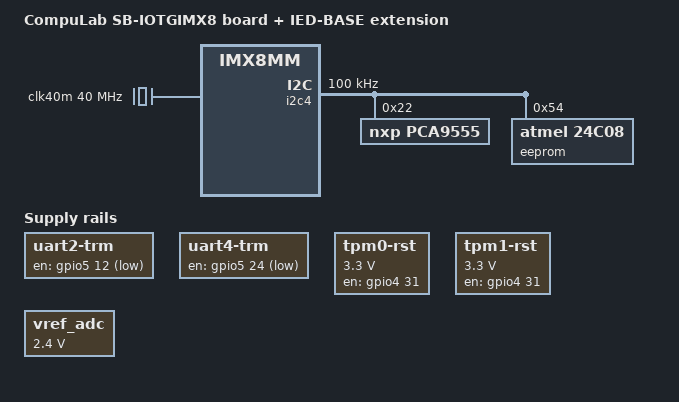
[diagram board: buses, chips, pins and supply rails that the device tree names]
/*
 * Copyright (C) 2020 CompuLab Ltd.
 *
 * This program is free software; you can redistribute it and/or
 * modify it under the terms of the GNU General Public License
 * as published by the Free Software Foundation; either version 2
 * of the License, or (at your option) any later version.
 *
 * This program is distributed in the hope that it will be useful,
 * but WITHOUT ANY WARRANTY; without even the implied warranty of
 * MERCHANTABILITY or FITNESS FOR A PARTICULAR PURPOSE. See the
 * GNU General Public License for more details.
 */

#include "sb-iotgimx8.dts"

/delete-node/ &pinctrl_uart4;

/ {
	model = "CompuLab SB-IOTGIMX8 board + IED-BASE extension";
	compatible = "sb-iotgimx8-ied", "sb-iotgimx8", "cpl,ucm-imx8m-mini", "fsl,imx8mm";

	clocks {
		#address-cells = <1>;
		#size-cells = <0>;
		clk40m: clk@1 {
			compatible = "fixed-clock";
			reg = <1>;
			#clock-cells = <0>;
			clock-frequency = <40000000>;
			clock-output-names = "clk40m";
		};
	};

	regulator-uart2-trm {
		compatible = "regulator-fixed";
		regulator-name = "uart2-trm";
		gpio = <&gpio5 12 GPIO_ACTIVE_LOW>;
		regulator-always-on;
		enable-active-low;
	};

	regulator-uart4-trm {
		compatible = "regulator-fixed";
		regulator-name = "uart4-trm";
		gpio = <&gpio5 24 GPIO_ACTIVE_LOW>;
		regulator-always-on;
		enable-active-low;
	};

	regulatot-tpm0-rst {
		compatible = "regulator-fixed";
		regulator-name = "tpm0-rst";
		regulator-min-microvolt = <3300000>;
		regulator-max-microvolt = <3300000>;
		gpio = <&gpio4 31 GPIO_ACTIVE_HIGH>;
		regulator-always-on;
		enable-active-high;
	};

	regulator-tpm1-rst {
		compatible = "regulator-fixed";
		regulator-name = "tpm1-rst";
		regulator-min-microvolt = <3300000>;
		regulator-max-microvolt = <3300000>;
		gpio = <&gpio4 31 GPIO_ACTIVE_HIGH>;
		regulator-always-on;
		enable-active-high;
	};

	vref_adc: regulator-vref-adc {
		compatible = "regulator-fixed";
		regulator-name = "vref_adc";
		regulator-min-microvolt = <2400000>;
		regulator-max-microvolt = <2400000>;
		regulator-always-on;
	};
};

&i2c4 {
	clock-frequency = <100000>;
	pinctrl-names = "default";
	pinctrl-0 = <&pinctrl_i2c4>;
	status = "okay";

	pca9555:pca9555@22 {
		compatible = "nxp,pca9555";
		gpio-controller;
		#gpio-cells = <2>;
		reg = <0x22>;
	};

	eeprom@54 {
		compatible = "atmel,24c08";
		reg = <0x54>;
		pagesize = <16>;
	};
};

&uart2 {
	pinctrl-names = "default";
	pinctrl-0 = <&pinctrl_uart2 &pinctrl_uart2_gpio>;
};

&uart4 {
	pinctrl-0 = <&pinctrl_uart4 &pinctrl_uart4_gpio>;
	/delete-property/ uart-has-rtscts;
	status = "disabled";
};

&ecspi2 {
	#address-cells = <1>;
	#size-cells = <0>;
	fsl,spi-num-chipselects = <1>;
	pinctrl-names = "default";
	pinctrl-0 = <&pinctrl_ecspi2 &pinctrl_ecspi2_cs>;
	cs-gpios = <&gpio5 13 GPIO_ACTIVE_LOW>;

	can0: can@0 {
		compatible = "microchip,mcp2518fd";
		reg = <0>;
		microchip,rx-int = <&gpio4 31 IRQ_TYPE_LEVEL_LOW>;
		pinctrl-names = "default";
		pinctrl-0 = <&pinctrl_can0>;
		interrupt-parent = <&gpio5>;
		interrupts = <0 IRQ_TYPE_LEVEL_LOW>;
		spi-max-frequency = <20000000>;
		clocks = <&clk40m>;
		status = "disabled";
	};
	tpm0: tpm@0 {
		compatible = "infineon,slb9670", "tcg,tpm_tis-spi";
		reg = <0>;
		pinctrl-names = "default";
		pinctrl-0 = <&pinctrl_tpm0>;
		spi-max-frequency = <5000000>;
		status = "disabled";
	};
	adc0: adc@0 {
		compatible = "maxim,max11108";
		reg = <0>;
		vref-supply = <&vref_adc>;
		spi-max-frequency = <20000000>;
		status = "disabled";
	};
};

&ecspi3 {
	#address-cells = <1>;
	#size-cells = <0>;
	fsl,spi-num-chipselects = <1>;
	pinctrl-names = "default";
	pinctrl-0 = <&pinctrl_ecspi3 &pinctrl_ecspi3_cs>;
	cs-gpios = <&gpio5 25 GPIO_ACTIVE_LOW>;

	can1: can@0 {
		compatible = "microchip,mcp2518fd";
		reg = <0>;
		microchip,rx-int = <&gpio5 28 IRQ_TYPE_LEVEL_LOW>;
		pinctrl-names = "default";
		pinctrl-0 = <&pinctrl_can1>;
		interrupt-parent = <&gpio5>;
		interrupts = <29 IRQ_TYPE_LEVEL_LOW>;
		spi-max-frequency = <20000000>;
		clocks = <&clk40m>;
		status = "disabled";
	};
	tpm1: tpm@0 {
		compatible = "infineon,slb9670", "tcg,tpm_tis-spi";
		reg = <0>;
		pinctrl-names = "default";
		pinctrl-0 = <&pinctrl_tpm1>;
		spi-max-frequency = <5000000>;
		status = "disabled";
	};
	adc1: adc@0 {
		compatible = "maxim,max11108";
		reg = <0>;
		vref-supply = <&vref_adc>;
		spi-max-frequency = <20000000>;
		status = "disabled";
	};
};

&iomuxc {
	pinctrl-names = "default";
	pinctrl-0 = <&pinctrl_hog_sb_iotgimx8_ied>;

	sb-iotgimx8-ied {
		pinctrl_hog_sb_iotgimx8_ied: hoggrp-sb-iotgimx8-ied {
			fsl,pins = <
				/* IED-DI4O4 */
				MX8MM_IOMUXC_NAND_ALE_GPIO3_IO0		0x100 /* IN 0 */
				MX8MM_IOMUXC_NAND_CE0_B_GPIO3_IO1	0x100 /* IN 1 */
				MX8MM_IOMUXC_NAND_DATA00_GPIO3_IO6	0x100 /* IN 2 */
				MX8MM_IOMUXC_NAND_DATA01_GPIO3_IO7	0x100 /* IN 3 */
				MX8MM_IOMUXC_NAND_DATA02_GPIO3_IO8	0x100 /* OUT 0 */
				MX8MM_IOMUXC_NAND_DATA03_GPIO3_IO9	0x100 /* OUT 1 */
			>;
		};

		pinctrl_i2c4: i2c4grp {
			fsl,pins = <
				MX8MM_IOMUXC_I2C4_SCL_I2C4_SCL		0x400001c3
				MX8MM_IOMUXC_I2C4_SDA_I2C4_SDA		0x400001c3
			>;
		};

		pinctrl_uart2: uart2grp {
			fsl,pins = <
				MX8MM_IOMUXC_SAI3_TXFS_UART2_DCE_RX	0x140
				MX8MM_IOMUXC_SAI3_TXC_UART2_DCE_TX	0x140
			>;
		};

		pinctrl_uart2_gpio: uart2_cs_grp {
			fsl,pins = <
				MX8MM_IOMUXC_ECSPI2_MISO_GPIO5_IO12	0x00
			>;
		};

		pinctrl_uart4: uart4grp {
			fsl,pins = <
				MX8MM_IOMUXC_UART4_RXD_UART4_DCE_RX	0x140
				MX8MM_IOMUXC_UART4_TXD_UART4_DCE_TX	0x140
			>;
		};

		pinctrl_uart4_gpio: uart4_cs_grp {
			fsl,pins = <
				MX8MM_IOMUXC_UART2_RXD_GPIO5_IO24	0x00
			>;
		};

		pinctrl_ecspi2: ecspi2grp {
			fsl,pins = <
				MX8MM_IOMUXC_ECSPI2_SCLK_ECSPI2_SCLK	0x02
				MX8MM_IOMUXC_ECSPI2_MOSI_ECSPI2_MOSI	0x02
				MX8MM_IOMUXC_ECSPI2_MISO_ECSPI2_MISO	0x102
			>;
		};

		pinctrl_ecspi2_cs: ecspi2_csgrp {
			fsl,pins = <
				MX8MM_IOMUXC_ECSPI2_SS0_GPIO5_IO13	0x40000
			>;
		};

		pinctrl_ecspi3: ecspi3grp {
			fsl,pins = <
				MX8MM_IOMUXC_UART1_RXD_ECSPI3_SCLK	0x02
				MX8MM_IOMUXC_UART1_TXD_ECSPI3_MOSI	0x02
				MX8MM_IOMUXC_UART2_RXD_ECSPI3_MISO	0x102
			>;
		};

		pinctrl_ecspi3_cs: ecspi3_csgrp {
			fsl,pins = <
				MX8MM_IOMUXC_UART2_TXD_GPIO5_IO25	0x40000
			>;
		};


		pinctrl_can0: can0grp {
			fsl,pins = <
				MX8MM_IOMUXC_SAI3_TXC_GPIO5_IO0		0x00
				MX8MM_IOMUXC_SAI3_TXFS_GPIO4_IO31       0x00
			>;
		};

		pinctrl_can1: can1grp {
			fsl,pins = <
				MX8MM_IOMUXC_UART4_TXD_GPIO5_IO29	0x00
				MX8MM_IOMUXC_UART4_RXD_GPIO5_IO28	0x00
			>;
		};

		pinctrl_tpm0: tpm0grp {
			fsl,pins = <
				MX8MM_IOMUXC_SAI3_TXFS_GPIO4_IO31       0x0
			>;
		};

		pinctrl_tpm1: tpm1grp {
			fsl,pins = <
				MX8MM_IOMUXC_UART4_RXD_GPIO5_IO28	0x0
			>;
		};
	};
};
